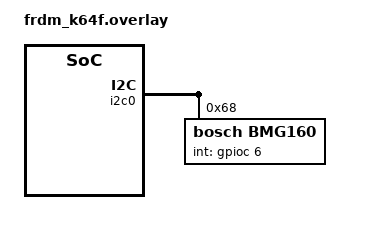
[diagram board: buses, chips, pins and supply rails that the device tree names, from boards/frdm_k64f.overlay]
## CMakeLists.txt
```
# SPDX-License-Identifier: Apache-2.0

cmake_minimum_required(VERSION 3.28.0)
find_package(Zephyr REQUIRED HINTS $ENV{ZEPHYR_BASE})
project(bmg160)

FILE(GLOB app_sources src/*.c)
target_sources(app PRIVATE ${app_sources})
```

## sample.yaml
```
sample:
  name: BMG160 Sensor Sample
tests:
  sample.sensor.bmg160:
    harness: sensor
    tags: sensors
    depends_on:
      - i2c
      - gpio
    platform_allow:
      - frdm_k64f
    integration_platforms:
      - frdm_k64f
```

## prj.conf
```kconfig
CONFIG_PRINTK=y
CONFIG_GPIO=y
CONFIG_I2C=y
CONFIG_SENSOR=y
CONFIG_BMG160=y
CONFIG_CBPRINTF_FP_SUPPORT=y
```

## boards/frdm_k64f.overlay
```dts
/*
 * Copyright (c) 2019, Linaro Ltd.
 *
 * SPDX-License-Identifier: Apache-2.0
 */

&i2c0 {
	bmg160@68 {
		compatible = "bosch,bmg160";
		reg = <0x68>;
		int-gpios = <&gpioc 6 0>;
	};
};
```

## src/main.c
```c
/*
 * Copyright (c) 2015 Intel Corporation
 *
 * SPDX-License-Identifier: Apache-2.0
 */

#include <zephyr/kernel.h>

#include <zephyr/sys/printk.h>
#include <zephyr/sys/clock.h>
#include <stdio.h>

#include <zephyr/device.h>
#include <zephyr/drivers/sensor.h>
#include <zephyr/drivers/i2c.h>

#define MAX_TEST_TIME	15000
#define SLEEPTIME	300

#if !DT_HAS_COMPAT_STATUS_OKAY(bosch_bmg160)
#error "No bosch,bmg160 compatible node found in the device tree"
#endif

static void print_gyro_data(const struct device *bmg160)
{
	struct sensor_value val[3];

	if (sensor_channel_get(bmg160, SENSOR_CHAN_GYRO_XYZ, val) < 0) {
		printf("Cannot read bmg160 gyro channels.\n");
		return;
	}

	printf("Gyro (rad/s): X=%f, Y=%f, Z=%f\n",
	       val[0].val1 + val[0].val2 / 1000000.0,
	       val[1].val1 + val[1].val2 / 1000000.0,
	       val[2].val1 + val[2].val2 / 1000000.0);
}

static void print_temp_data(const struct device *bmg160)
{
	struct sensor_value val;

	if (sensor_channel_get(bmg160, SENSOR_CHAN_DIE_TEMP, &val) < 0) {
		printf("Temperature channel read error.\n");
		return;
	}

	printf("Temperature (Celsius): %f\n",
	       val.val1 + val.val2 / 1000000.0);
}

static void test_polling_mode(const struct device *bmg160)
{
	int32_t remaining_test_time = MAX_TEST_TIME;

	do {
		if (sensor_sample_fetch(bmg160) < 0) {
			printf("Gyro sample update error.\n");
		}

		print_gyro_data(bmg160);

		print_temp_data(bmg160);

		/* wait a while */
		k_msleep(SLEEPTIME);

		remaining_test_time -= SLEEPTIME;
	} while (remaining_test_time > 0);
}

static void trigger_handler(const struct device *bmg160,
			    const struct sensor_trigger *trigger)
{
	if (trigger->type != SENSOR_TRIG_DATA_READY &&
	    trigger->type != SENSOR_TRIG_DELTA) {
		printf("Gyro: trigger handler: unknown trigger type.\n");
		return;
	}

	if (sensor_sample_fetch(bmg160) < 0) {
		printf("Gyro sample update error.\n");
	}

	print_gyro_data(bmg160);
}

static void test_trigger_mode(const struct device *bmg160)
{
	int32_t remaining_test_time = MAX_TEST_TIME;
	struct sensor_trigger trig;
	struct sensor_value attr;

	trig.type = SENSOR_TRIG_DELTA;
	trig.chan = SENSOR_CHAN_GYRO_XYZ;

	printf("Gyro: Testing anymotion trigger.\n");

	/* set up the trigger */

	/* set slope threshold to 10 dps */

	sensor_degrees_to_rad(10, &attr); /* convert to rad/s */

	if (sensor_attr_set(bmg160, SENSOR_CHAN_GYRO_XYZ,
			    SENSOR_ATTR_SLOPE_TH, &attr) < 0) {
		printf("Gyro: cannot set slope threshold.\n");
		return;
	}

	/* set slope duration to 4 samples */
	attr.val1 = 4;
	attr.val2 = 0;

	if (sensor_attr_set(bmg160, SENSOR_CHAN_GYRO_XYZ,
			    SENSOR_ATTR_SLOPE_DUR, &attr) < 0) {
		printf("Gyro: cannot set slope duration.\n");
		return;
	}

	if (sensor_trigger_set(bmg160, &trig, trigger_handler) < 0) {
		printf("Gyro: cannot set trigger.\n");
		return;
	}

	printf("Gyro: rotate the device and wait for events.\n");
	do {
		k_msleep(SLEEPTIME);
		remaining_test_time -= SLEEPTIME;
	} while (remaining_test_time > 0);

	if (sensor_trigger_set(bmg160, &trig, NULL) < 0) {
		printf("Gyro: cannot clear trigger.\n");
		return;
	}

	printf("Gyro: Anymotion trigger test finished.\n");

	printf("Gyro: Testing data ready trigger.\n");

	attr.val1 = 100;
	attr.val2 = 0;

	if (sensor_attr_set(bmg160, SENSOR_CHAN_GYRO_XYZ,
			    SENSOR_ATTR_SAMPLING_FREQUENCY, &attr) < 0) {
		printf("Gyro: cannot set sampling frequency.\n");
		return;
	}

	trig.type = SENSOR_TRIG_DATA_READY;
	trig.chan = SENSOR_CHAN_GYRO_XYZ;

	if (sensor_trigger_set(bmg160, &trig, trigger_handler) < 0) {
		printf("Gyro: cannot set trigger.\n");
		return;
	}

	remaining_test_time = MAX_TEST_TIME;

	do {
		k_msleep(SLEEPTIME);
		remaining_test_time -= SLEEPTIME;
	} while (remaining_test_time > 0);

	if (sensor_trigger_set(bmg160, &trig, NULL) < 0) {
		printf("Gyro: cannot clear trigger.\n");
		return;
	}

	printf("Gyro: Data ready trigger test finished.\n");
}

int main(void)
{
	const struct device *const bmg160 = DEVICE_DT_GET_ANY(bosch_bmg160);
#if defined(CONFIG_BMG160_RANGE_RUNTIME)
	struct sensor_value attr;
#endif

	if (!device_is_ready(bmg160)) {
		printf("Device %s is not ready.\n", bmg160->name);
		return 0;
	}

#if defined(CONFIG_BMG160_RANGE_RUNTIME)
	/*
	 * Set gyro range to +/- 250 degrees/s. Since the sensor API needs SI
	 * units, convert the range to rad/s.
	 */
	sensor_degrees_to_rad(250, &attr);

	if (sensor_attr_set(bmg160, SENSOR_CHAN_GYRO_XYZ,
			    SENSOR_ATTR_FULL_SCALE, &attr) < 0) {
		printf("Cannot set gyro range.\n");
		return 0;
	}
#endif

	printf("Testing the polling mode.\n");
	test_polling_mode(bmg160);
	printf("Polling mode test finished.\n");

	printf("Testing the trigger mode.\n");
	test_trigger_mode(bmg160);
	printf("Trigger mode test finished.\n");
	return 0;
}
```

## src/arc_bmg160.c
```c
/*
 * Copyright (c) 2015 Intel Corporation
 *
 * SPDX-License-Identifier: Apache-2.0
 */

#include <zephyr.h>

#include <misc/printk.h>
#include <sys_clock.h>
#include <stdio.h>

#include <device.h>
#include <sensor.h>
#include <i2c.h>

#define MAX_TEST_TIME	15000
#define SLEEPTIME	300

static void print_gyro_data(struct device *bmg160)
{
	struct sensor_value val[3];

	if (sensor_channel_get(bmg160, SENSOR_CHAN_GYRO_XYZ, val) < 0) {
		printf("Cannot read bmg160 gyro channels.\n");
		return;
	}

	printf("Gyro (rad/s): X=%f, Y=%f, Z=%f\n",
	       val[0].val1 + val[0].val2 / 1000000.0,
	       val[1].val1 + val[1].val2 / 1000000.0,
	       val[2].val1 + val[2].val2 / 1000000.0);
}

static void print_temp_data(struct device *bmg160)
{
	struct sensor_value val;

	if (sensor_channel_get(bmg160, SENSOR_CHAN_TEMP, &val) < 0) {
		printf("Temperature channel read error.\n");
		return;
	}

	printf("Temperature (Celsius): %f\n",
	       val.val1 + val.val2 / 1000000.0);
}

static void test_polling_mode(struct device *bmg160)
{
	int32_t remaining_test_time = MAX_TEST_TIME;

	do {
		if (sensor_sample_fetch(bmg160) < 0) {
			printf("Gyro sample update error.\n");
		}

		print_gyro_data(bmg160);

		print_temp_data(bmg160);

		/* wait a while */
		k_sleep(SLEEPTIME);

		remaining_test_time -= SLEEPTIME;
	} while (remaining_test_time > 0);
}

static void trigger_handler(struct device *bmg160, struct sensor_trigger *trigger)
{
	if (trigger->type != SENSOR_TRIG_DATA_READY &&
	    trigger->type != SENSOR_TRIG_DELTA) {
		printf("Gyro: trigger handler: unknown trigger type.\n");
		return;
	}

	if (sensor_sample_fetch(bmg160) < 0) {
		printf("Gyro sample update error.\n");
	}

	print_gyro_data(bmg160);
}

static void test_trigger_mode(struct device *bmg160)
{
	int32_t remaining_test_time = MAX_TEST_TIME;
	struct sensor_trigger trig;
	struct sensor_value attr;

	trig.type = SENSOR_TRIG_DELTA;
	trig.chan = SENSOR_CHAN_GYRO_XYZ;

	printf("Gyro: Testing anymotion trigger.\n");

	/* set up the trigger */

	/* set slope threshold to 10 dps */

	sensor_degrees_to_rad(10, &attr); /* convert to rad/s */

	if (sensor_attr_set(bmg160, SENSOR_CHAN_GYRO_XYZ,
			    SENSOR_ATTR_SLOPE_TH, &attr) < 0) {
		printf("Gyro: cannot set slope threshold.\n");
		return;
	}

	/* set slope duration to 4 samples */
	attr.val1 = 4;
	attr.val2 = 0;

	if (sensor_attr_set(bmg160, SENSOR_CHAN_GYRO_XYZ,
			    SENSOR_ATTR_SLOPE_DUR, &attr) < 0) {
		printf("Gyro: cannot set slope duration.\n");
		return;
	}

	if (sensor_trigger_set(bmg160, &trig, trigger_handler) < 0) {
		printf("Gyro: cannot set trigger.\n");
		return;
	}

	printf("Gyro: rotate the device and wait for events.\n");
	do {
		k_sleep(SLEEPTIME);
		remaining_test_time -= SLEEPTIME;
	} while (remaining_test_time > 0);

	if (sensor_trigger_set(bmg160, &trig, NULL) < 0) {
		printf("Gyro: cannot clear trigger.\n");
		return;
	}

	printf("Gyro: Anymotion trigger test finished.\n");

	printf("Gyro: Testing data ready trigger.\n");

	attr.val1 = 100;
	attr.val2 = 0;

	if (sensor_attr_set(bmg160, SENSOR_CHAN_GYRO_XYZ,
			    SENSOR_ATTR_SAMPLING_FREQUENCY, &attr) < 0) {
		printf("Gyro: cannot set sampling frequency.\n");
		return;
	}

	trig.type = SENSOR_TRIG_DATA_READY;
	trig.chan = SENSOR_CHAN_GYRO_XYZ;

	if (sensor_trigger_set(bmg160, &trig, trigger_handler) < 0) {
		printf("Gyro: cannot set trigger.\n");
		return;
	}

	remaining_test_time = MAX_TEST_TIME;

	do {
		k_sleep(SLEEPTIME);
		remaining_test_time -= SLEEPTIME;
	} while (remaining_test_time > 0);

	if (sensor_trigger_set(bmg160, &trig, NULL) < 0) {
		printf("Gyro: cannot clear trigger.\n");
		return;
	}

	printf("Gyro: Data ready trigger test finished.\n");
}

void main(void)
{
	struct device *bmg160;
#if defined(CONFIG_BMG160_RANGE_RUNTIME)
	struct sensor_value attr;
#endif

	bmg160 = device_get_binding("bmg160");
	if (!bmg160) {
		printf("Device not found.\n");
		return;
	}

#if defined(CONFIG_BMG160_RANGE_RUNTIME)
	/*
	 * Set gyro range to +/- 250 degrees/s. Since the sensor API needs SI
	 * units, convert the range to rad/s.
	 */
	sensor_degrees_to_rad(250, &attr);

	if (sensor_attr_set(bmg160, SENSOR_CHAN_GYRO_XYZ,
			    SENSOR_ATTR_FULL_SCALE, &attr) < 0) {
		printf("Cannot set gyro range.\n");
		return;
	}
#endif

	printf("Testing the polling mode.\n");
	test_polling_mode(bmg160);
	printf("Polling mode test finished.\n");

	printf("Testing the trigger mode.\n");
	test_trigger_mode(bmg160);
	printf("Trigger mode test finished.\n");
}
```
